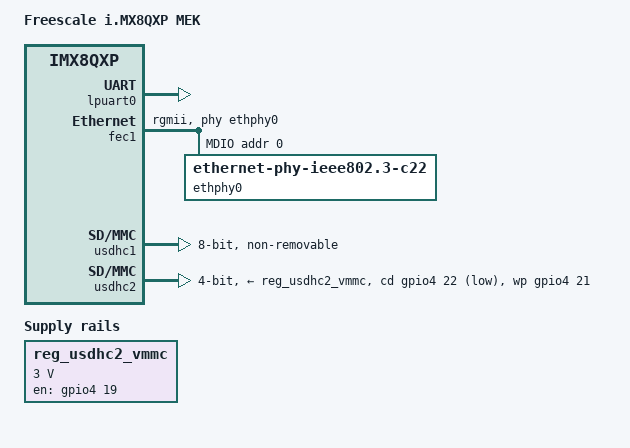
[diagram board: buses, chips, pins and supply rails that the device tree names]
/*
 * Copyright 2017 NXP
 *
 * This program is free software; you can redistribute it and/or
 * modify it under the terms of the GNU General Public License
 * as published by the Free Software Foundation; either version 2
 * of the License, or (at your option) any later version.
 *
 * This program is distributed in the hope that it will be useful,
 * but WITHOUT ANY WARRANTY; without even the implied warranty of
 * MERCHANTABILITY or FITNESS FOR A PARTICULAR PURPOSE.  See the
 * GNU General Public License for more details.
 */

/dts-v1/;

/* First 128KB is for PSCI ATF. */
/* Last 127M is for M4/RPMSG */
/memreserve/ 0x80000000 0x08000000;

#include "fsl-imx8qxp.dtsi"

/ {
	model = "Freescale i.MX8QXP MEK";
	compatible = "fsl,imx8qxp-mek", "fsl,imx8qxp";

	chosen {
		bootargs = "console=ttyLP0,115200 earlycon=lpuart32,0x5a060000,115200";
		stdout-path = &lpuart0;
	};

	regulators {
		compatible = "simple-bus";
		#address-cells = <1>;
		#size-cells = <0>;

		reg_usdhc2_vmmc: usdhc2_vmmc {
			compatible = "regulator-fixed";
			regulator-name = "SD1_SPWR";
			regulator-min-microvolt = <3000000>;
			regulator-max-microvolt = <3000000>;
			gpio = <&gpio4 19 GPIO_ACTIVE_HIGH>;
			enable-active-high;
		};

	};
};

&iomuxc {
	pinctrl-names = "default";
	imx8qxp-mek {

		pinctrl_lpuart0: lpuart0grp {
			fsl,pins = <
				SC_P_UART0_RX_ADMA_UART0_RX	0x0600004c
				SC_P_UART0_TX_ADMA_UART0_TX	0x0600004c
			>;
		};

		pinctrl_fec1: fec1grp {
			fsl,pins = <
				SC_P_ENET0_MDC_CONN_ENET0_MDC			0x06000048
				SC_P_ENET0_MDIO_CONN_ENET0_MDIO			0x06000048
				SC_P_ENET0_RGMII_TX_CTL_CONN_ENET0_RGMII_TX_CTL	0x06000048
				SC_P_ENET0_RGMII_TXC_CONN_ENET0_RGMII_TXC	0x06000048
				SC_P_ENET0_RGMII_TXD0_CONN_ENET0_RGMII_TXD0	0x06000048
				SC_P_ENET0_RGMII_TXD1_CONN_ENET0_RGMII_TXD1	0x06000048
				SC_P_ENET0_RGMII_TXD2_CONN_ENET0_RGMII_TXD2	0x06000048
				SC_P_ENET0_RGMII_TXD3_CONN_ENET0_RGMII_TXD3	0x06000048
				SC_P_ENET0_RGMII_RXC_CONN_ENET0_RGMII_RXC	0x06000048
				SC_P_ENET0_RGMII_RX_CTL_CONN_ENET0_RGMII_RX_CTL	0x06000048
				SC_P_ENET0_RGMII_RXD0_CONN_ENET0_RGMII_RXD0	0x06000048
				SC_P_ENET0_RGMII_RXD1_CONN_ENET0_RGMII_RXD1	0x06000048
				SC_P_ENET0_RGMII_RXD2_CONN_ENET0_RGMII_RXD2	0x06000048
				SC_P_ENET0_RGMII_RXD3_CONN_ENET0_RGMII_RXD3	0x06000048
			>;
		};

		pinctrl_usdhc1: usdhc1grp {
			fsl,pins = <
				SC_P_EMMC0_CLK_CONN_EMMC0_CLK		0x06000041
				SC_P_EMMC0_CMD_CONN_EMMC0_CMD		0x00000021
				SC_P_EMMC0_DATA0_CONN_EMMC0_DATA0	0x00000021
				SC_P_EMMC0_DATA1_CONN_EMMC0_DATA1	0x00000021
				SC_P_EMMC0_DATA2_CONN_EMMC0_DATA2	0x00000021
				SC_P_EMMC0_DATA3_CONN_EMMC0_DATA3	0x00000021
				SC_P_EMMC0_DATA4_CONN_EMMC0_DATA4	0x00000021
				SC_P_EMMC0_DATA5_CONN_EMMC0_DATA5	0x00000021
				SC_P_EMMC0_DATA6_CONN_EMMC0_DATA6	0x00000021
				SC_P_EMMC0_DATA7_CONN_EMMC0_DATA7	0x00000021
				SC_P_EMMC0_STROBE_CONN_EMMC0_STROBE	0x06000041
			>;
		};

		pinctrl_usdhc1_100mhz: usdhc1grp100mhz {
			fsl,pins = <
				SC_P_EMMC0_CLK_CONN_EMMC0_CLK		0x06000045
				SC_P_EMMC0_CMD_CONN_EMMC0_CMD		0x00000025
				SC_P_EMMC0_DATA0_CONN_EMMC0_DATA0	0x00000025
				SC_P_EMMC0_DATA1_CONN_EMMC0_DATA1	0x00000025
				SC_P_EMMC0_DATA2_CONN_EMMC0_DATA2	0x00000025
				SC_P_EMMC0_DATA3_CONN_EMMC0_DATA3	0x00000025
				SC_P_EMMC0_DATA4_CONN_EMMC0_DATA4	0x00000025
				SC_P_EMMC0_DATA5_CONN_EMMC0_DATA5	0x00000025
				SC_P_EMMC0_DATA6_CONN_EMMC0_DATA6	0x00000025
				SC_P_EMMC0_DATA7_CONN_EMMC0_DATA7	0x00000025
				SC_P_EMMC0_STROBE_CONN_EMMC0_STROBE	0x06000045
			>;
		};

		pinctrl_usdhc1_200mhz: usdhc1grp200mhz {
			fsl,pins = <
				SC_P_EMMC0_CLK_CONN_EMMC0_CLK		0x06000047
				SC_P_EMMC0_CMD_CONN_EMMC0_CMD		0x00000027
				SC_P_EMMC0_DATA0_CONN_EMMC0_DATA0	0x00000027
				SC_P_EMMC0_DATA1_CONN_EMMC0_DATA1	0x00000027
				SC_P_EMMC0_DATA2_CONN_EMMC0_DATA2	0x00000027
				SC_P_EMMC0_DATA3_CONN_EMMC0_DATA3	0x00000027
				SC_P_EMMC0_DATA4_CONN_EMMC0_DATA4	0x00000027
				SC_P_EMMC0_DATA5_CONN_EMMC0_DATA5	0x00000027
				SC_P_EMMC0_DATA6_CONN_EMMC0_DATA6	0x00000027
				SC_P_EMMC0_DATA7_CONN_EMMC0_DATA7	0x00000027
				SC_P_EMMC0_STROBE_CONN_EMMC0_STROBE	0x06000047
			>;
		};

		pinctrl_usdhc2_gpio: usdhc2gpiogrp {
			fsl,pins = <
				SC_P_USDHC1_RESET_B_LSIO_GPIO4_IO19	0x06000048
				SC_P_USDHC1_WP_LSIO_GPIO4_IO21		0x06000021
				SC_P_USDHC1_CD_B_LSIO_GPIO4_IO22	0x06000021
			>;
		};

		pinctrl_usdhc2: usdhc2grp {
			fsl,pins = <
				SC_P_USDHC1_CLK_CONN_USDHC1_CLK		0x06000041
				SC_P_USDHC1_CMD_CONN_USDHC1_CMD		0x06000021
				SC_P_USDHC1_DATA0_CONN_USDHC1_DATA0	0x06000021
				SC_P_USDHC1_DATA1_CONN_USDHC1_DATA1	0x06000021
				SC_P_USDHC1_DATA2_CONN_USDHC1_DATA2	0x06000021
				SC_P_USDHC1_DATA3_CONN_USDHC1_DATA3	0x06000021
				SC_P_USDHC1_VSELECT_CONN_USDHC1_VSELECT	0x06000021
			>;
		};

		pinctrl_usdhc2_100mhz: usdhc2grp100mhz {
			fsl,pins = <
				SC_P_USDHC1_CLK_CONN_USDHC1_CLK		0x06000045
				SC_P_USDHC1_CMD_CONN_USDHC1_CMD		0x06000025
				SC_P_USDHC1_DATA0_CONN_USDHC1_DATA0	0x06000025
				SC_P_USDHC1_DATA1_CONN_USDHC1_DATA1	0x06000025
				SC_P_USDHC1_DATA2_CONN_USDHC1_DATA2	0x06000025
				SC_P_USDHC1_DATA3_CONN_USDHC1_DATA3	0x06000025
				SC_P_USDHC1_VSELECT_CONN_USDHC1_VSELECT	0x06000021
			>;
		};

		pinctrl_usdhc2_200mhz: usdhc2grp200mhz {
			fsl,pins = <
				SC_P_USDHC1_CLK_CONN_USDHC1_CLK		0x06000047
				SC_P_USDHC1_CMD_CONN_USDHC1_CMD		0x06000027
				SC_P_USDHC1_DATA0_CONN_USDHC1_DATA0	0x06000027
				SC_P_USDHC1_DATA1_CONN_USDHC1_DATA1	0x06000027
				SC_P_USDHC1_DATA2_CONN_USDHC1_DATA2	0x06000027
				SC_P_USDHC1_DATA3_CONN_USDHC1_DATA3	0x06000027
				SC_P_USDHC1_VSELECT_CONN_USDHC1_VSELECT	0x06000021
			>;
		};
	};
};

&lpuart0 {
	pinctrl-names = "default";
	pinctrl-0 = <&pinctrl_lpuart0>;
	status = "okay";
};

&fec1 {
	pinctrl-names = "default";
	pinctrl-0 = <&pinctrl_fec1>;
	phy-mode = "rgmii";
	phy-handle = <&ethphy0>;
	fsl,ar8031-phy-fixup;
	fsl,magic-packet;
	status = "okay";

	mdio {
		#address-cells = <1>;
		#size-cells = <0>;

		ethphy0: ethernet-phy@0 {
			compatible = "ethernet-phy-ieee802.3-c22";
			reg = <0>;
		};

		ethphy1: ethernet-phy@1 {
			compatible = "ethernet-phy-ieee802.3-c22";
			reg = <1>;
			status = "disabled";
		};
	};
};

&usdhc1 {
	pinctrl-names = "default", "state_100mhz", "state_200mhz";
	pinctrl-0 = <&pinctrl_usdhc1>;
	pinctrl-1 = <&pinctrl_usdhc1_100mhz>;
	pinctrl-2 = <&pinctrl_usdhc1_200mhz>;
	bus-width = <8>;
	non-removable;
	status = "okay";
};

&usdhc2 {
	pinctrl-names = "default", "state_100mhz", "state_200mhz";
	pinctrl-0 = <&pinctrl_usdhc2>, <&pinctrl_usdhc2_gpio>;
	pinctrl-1 = <&pinctrl_usdhc2_100mhz>, <&pinctrl_usdhc2_gpio>;
	pinctrl-2 = <&pinctrl_usdhc2_200mhz>, <&pinctrl_usdhc2_gpio>;
	bus-width = <4>;
	cd-gpios = <&gpio4 22 GPIO_ACTIVE_LOW>;
	wp-gpios = <&gpio4 21 GPIO_ACTIVE_HIGH>;
	vmmc-supply = <&reg_usdhc2_vmmc>;
	status = "okay";
};
